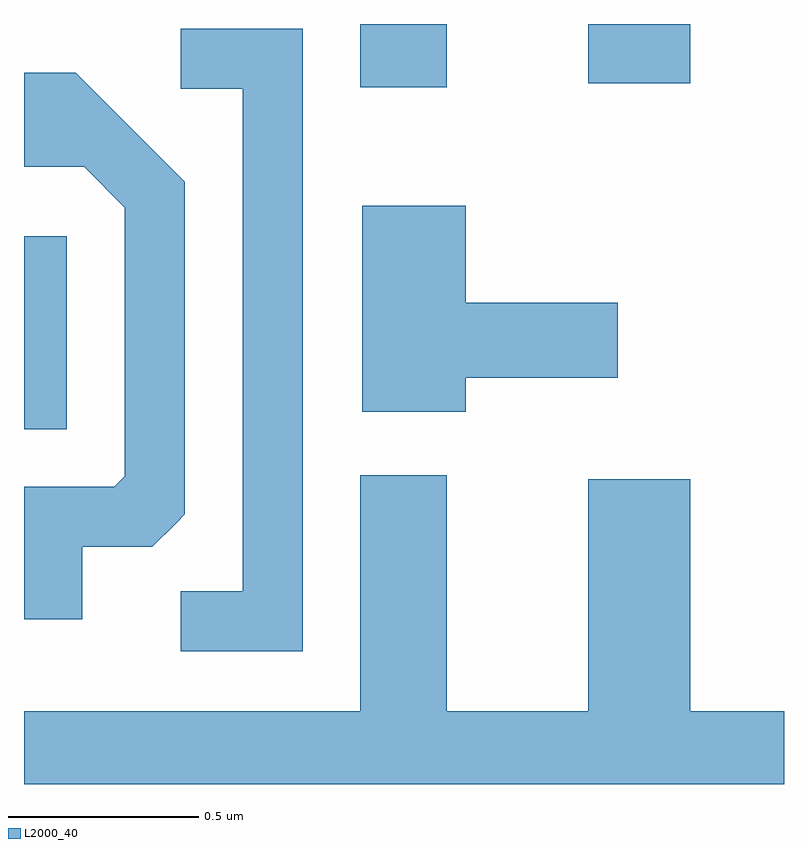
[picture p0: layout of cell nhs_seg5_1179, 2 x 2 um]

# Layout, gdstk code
import gdstk
lib = gdstk.Library(unit=1e-6, precision=1e-09)
def R(c, l, rs):  # rectangles x0, y0, x1, y1
    for r in rs: c.add(gdstk.rectangle(r[:2], r[2:], *l))
def P(c, l, *ps):  # polygons
    for p in ps: c.add(gdstk.Polygon(p, *l))
L2000_40 = (2000, 40)

nhs_seg5_1179 = lib.new_cell('nhs_seg5_1179')
R(nhs_seg5_1179, L2000_40, [(193.611,1480.006,193.724,1480.513), (194.496,1480.906,194.724,1481.072), (195.096,1480.916,195.364,1481.072)])
P(nhs_seg5_1179, L2000_40, [(194.344,1481.059),(194.023,1481.059),(194.023,1480.901),(194.186,1480.901),(194.186,1479.579),(194.023,1479.579),(194.023,1479.421),(194.344,1479.421)],
  [(193.764,1479.696),(193.949,1479.696),(194.013,1479.76),(194.034,1479.782),(194.034,1480.657),(193.747,1480.944),(193.611,1480.944),(193.611,1480.696),(193.769,1480.696),(193.876,1480.589),(193.876,1479.882),(193.849,1479.854),(193.611,1479.854),(193.611,1479.506),(193.764,1479.506)],
  [(194.774,1480.141),(195.174,1480.141),(195.174,1480.339),(194.774,1480.339),(194.774,1480.594),(194.501,1480.594),(194.501,1480.051),(194.774,1480.051)],
  [(195.611,1479.264),(195.364,1479.264),(195.364,1479.874),(195.096,1479.874),(195.096,1479.264),(194.724,1479.264),(194.724,1479.884),(194.496,1479.884),(194.496,1479.264),(193.611,1479.264),(193.611,1479.072),(195.611,1479.072)])

lib.write_gds('nhs_seg5_1179.gds')
